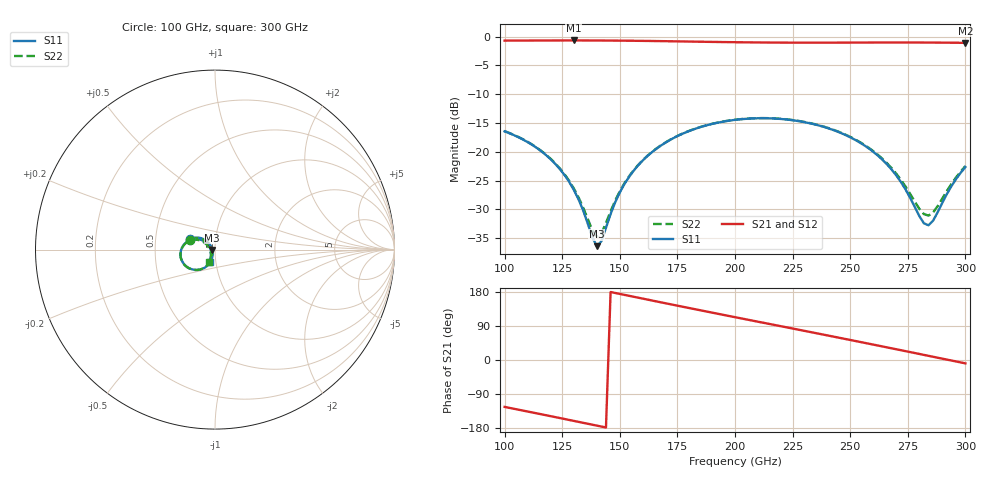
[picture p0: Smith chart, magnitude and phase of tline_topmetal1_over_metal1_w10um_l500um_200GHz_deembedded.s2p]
! Created with skrf 2.2.0 (http://scikit-rf.org).
# GHz S DB R 50.0
! Port[1] = P1
! Port[2] = P2
!freq dBS11 angS11 dBS21 angS21 dBS12 angS12 dBS22 angS22
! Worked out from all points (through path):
!   101 points, 100 GHz to 300 GHz, reference 50 ohm
!   highest |S21| = -0.68 dB at 130 GHz (marker M1); lowest = -1.1 dB at 300 GHz (marker M2)
!   group delay of S21, straight-line fit = 3.39 ps
!   lowest |S11| = -36.4 dB at 140 GHz (marker M3), VSWR 1.03, Z = 48.5 - j0.175 ohm
!   |S11| at or under -10 dB: start of sweep to end of sweep
!   |S22| runs from -34.7 to -14.2 dB; largest |S21 - S12| = 1.5e-14
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100  -16.46 157.3  -0.71 -123.8  -0.71 -123.8  -16.43 158.7
118  -20.59 138.8  -0.69 -145.8  -0.69 -145.8  -20.52 141.1
124  -23.02 134.5  -0.68 -153.2  -0.68 -153.2  -22.91 137.4
130  -26.59 133.6  -0.68 -160.6  -0.68 -160.6  -26.34 137.6
134  -30.10 138.7  -0.68 -165.6  -0.68 -165.6  -29.60 143.9
138  -34.81 160.9  -0.69 -170.6  -0.69 -170.6  -33.56 165.9
140  -36.40 -173.2  -0.69 -173.1  -0.69 -173.1  -34.75 -172.2
142  -35.56 -144.4  -0.69 -175.6  -0.69 -175.6  -34.19 -148.3
148  -28.78 -111.7  -0.71 176.9  -0.71 176.9  -28.48 -115.5
152  -25.63 -108.9  -0.72 171.9  -0.72 171.9  -25.48 -111.4
160  -21.50 -112.2  -0.76 161.9  -0.76 161.9  -21.45 -113.5
168  -18.89 -119.2  -0.80 152.0  -0.80 152.0  -18.86 -119.8
182  -16.12 -133.6  -0.88 134.8  -0.88 134.8  -16.10 -133.6
200  -14.47 -153.3  -0.99 113.0  -0.99 113.0  -14.45 -152.7
218  -14.26 -172.9  -1.05 91.4  -1.05 91.4  -14.23 -171.8
234  -15.20 170.1  -1.07 72.3  -1.07 72.3  -15.16 171.6
254  -18.37 150.6  -1.05 48.0  -1.05 48.0  -18.28 153.2
268  -23.11 142.5  -1.04 30.8  -1.04 30.8  -22.86 146.7
274  -26.54 145.4  -1.04 23.4  -1.04 23.4  -26.04 150.9
280  -31.17 165.3  -1.04 15.9  -1.04 15.9  -29.91 170.7
284  -32.77 -160.7  -1.05 11.0  -1.05 11.0  -31.09 -161.1
300  -22.67 -112.3  -1.10 -8.9  -1.10 -8.9  -22.49 -114.8
